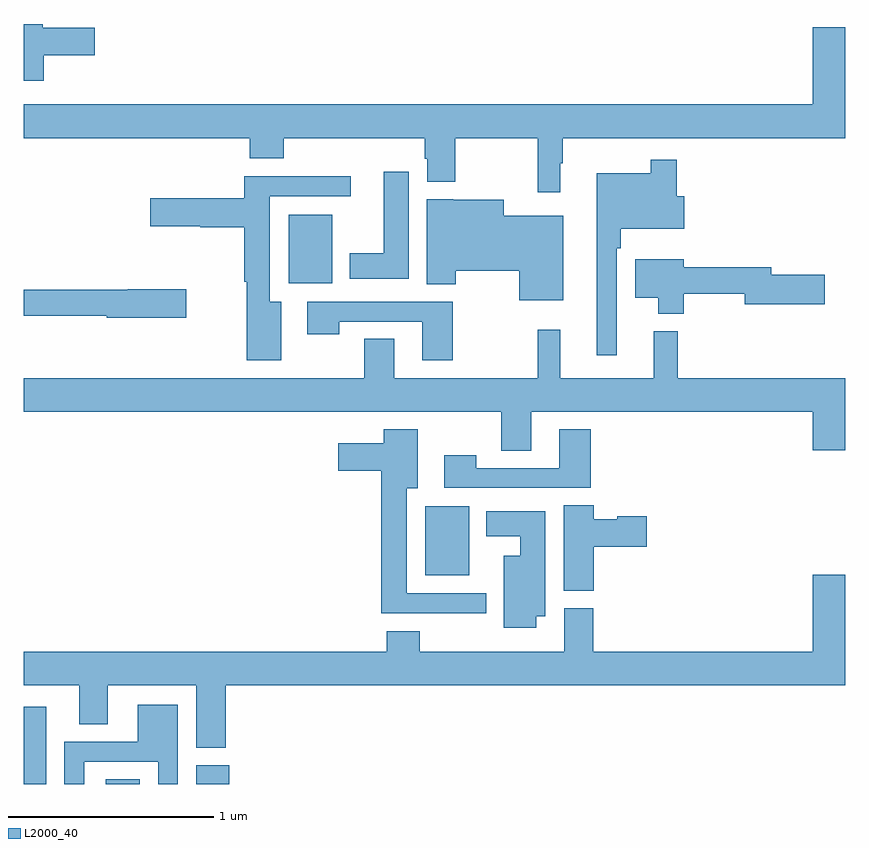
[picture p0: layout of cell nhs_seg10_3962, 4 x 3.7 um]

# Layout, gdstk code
import gdstk
lib = gdstk.Library(unit=1e-6, precision=1e-09)
def R(c, l, rs):  # rectangles x0, y0, x1, y1
    for r in rs: c.add(gdstk.rectangle(r[:2], r[2:], *l))
def P(c, l, *ps):  # polygons
    for p in ps: c.add(gdstk.Polygon(p, *l))
L2000_40 = (2000, 40)

nhs_seg10_3962 = lib.new_cell('nhs_seg10_3962')
R(nhs_seg10_3962, L2000_40, [(329,1302.5,329.11,1302.877), (329.399,1302.5,329.566,1302.524), (329.84,1302.5,330.002,1302.591), (330.956,1303.517,331.168,1303.852), (330.29,1304.936,330.502,1305.271)])
P(nhs_seg10_3962, L2000_40, [(329.098,1306.046),(329.347,1306.046),(329.347,1306.181),(329.094,1306.181),(329.094,1306.199),(329,1306.199),(329,1305.923),(329.098,1305.923)],
  [(331.612,1305.521),(331.624,1305.521),(331.624,1305.644),(333,1305.644),(333,1306.183),(332.84,1306.183),(332.84,1305.808),(329,1305.808),(329,1305.644),(330.101,1305.644),(330.101,1305.545),(330.266,1305.545),(330.266,1305.644),(330.953,1305.644),(330.953,1305.543),(330.965,1305.543),(330.965,1305.431),(331.101,1305.431),(331.101,1305.644),(331.503,1305.644),(331.503,1305.381),(331.612,1305.381)],
  [(331.887,1305.107),(331.907,1305.107),(331.907,1305.203),(332.215,1305.203),(332.215,1305.361),(332.18,1305.361),(332.18,1305.538),(332.052,1305.538),(332.052,1305.472),(331.79,1305.472),(331.79,1304.586),(331.887,1304.586)],
  [(330.874,1305.481),(330.752,1305.481),(330.752,1305.082),(330.587,1305.082),(330.587,1304.96),(330.874,1304.96)],
  [(330.253,1304.848),(330.199,1304.848),(330.199,1305.36),(330.592,1305.36),(330.592,1305.458),(330.074,1305.458),(330.074,1305.351),(329.616,1305.351),(329.616,1305.214),(329.859,1305.214),(329.859,1305.209),(330.074,1305.209),(330.074,1304.944),(330.086,1304.944),(330.086,1304.562),(330.253,1304.562)],
  [(331.627,1305.265),(331.336,1305.265),(331.336,1305.343),(331.092,1305.343),(331.092,1305.346),(330.962,1305.346),(330.962,1304.932),(331.104,1304.932),(331.104,1304.999),(331.412,1304.999),(331.412,1304.855),(331.627,1304.855)],
  [(332.212,1304.886),(332.51,1304.886),(332.51,1304.836),(332.899,1304.836),(332.899,1304.978),(332.638,1304.978),(332.638,1305.014),(332.212,1305.014),(332.212,1305.055),(331.976,1305.055),(331.976,1304.867),(332.09,1304.867),(332.09,1304.789),(332.212,1304.789)],
  [(329.791,1304.907),(329.506,1304.907),(329.506,1304.906),(329,1304.906),(329,1304.778),(329.406,1304.778),(329.406,1304.77),(329.791,1304.77)],
  [(331.089,1304.847),(330.381,1304.847),(330.381,1304.688),(330.537,1304.688),(330.537,1304.751),(330.941,1304.751),(330.941,1304.562),(331.089,1304.562)],
  [(331.471,1304.312),(332.84,1304.312),(332.84,1304.124),(333,1304.124),(333,1304.476),(332.183,1304.476),(332.183,1304.704),(332.066,1304.704),(332.066,1304.476),(331.613,1304.476),(331.613,1304.71),(331.503,1304.71),(331.503,1304.476),(330.805,1304.476),(330.805,1304.666),(330.658,1304.666),(330.658,1304.476),(329,1304.476),(329,1304.312),(331.324,1304.312),(331.324,1304.122),(331.471,1304.122)],
  [(331.252,1303.428),(330.865,1303.428),(330.865,1303.94),(330.919,1303.94),(330.919,1304.227),(330.752,1304.227),(330.752,1304.158),(330.531,1304.158),(330.531,1304.024),(330.74,1304.024),(330.74,1303.331),(331.252,1303.331)],
  [(331.76,1304.227),(331.607,1304.227),(331.607,1304.037),(331.203,1304.037),(331.203,1304.101),(331.047,1304.101),(331.047,1303.941),(331.76,1303.941)],
  [(331.775,1303.655),(332.032,1303.655),(332.032,1303.802),(331.889,1303.802),(331.889,1303.789),(331.775,1303.789),(331.775,1303.856),(331.628,1303.856),(331.628,1303.441),(331.775,1303.441)],
  [(331.495,1303.316),(331.54,1303.316),(331.54,1303.828),(331.253,1303.828),(331.253,1303.706),(331.418,1303.706),(331.418,1303.612),(331.337,1303.612),(331.337,1303.26),(331.495,1303.26)],
  [(329.984,1302.98),(333,1302.98),(333,1303.519),(332.84,1303.519),(332.84,1303.144),(331.772,1303.144),(331.772,1303.356),(331.631,1303.356),(331.631,1303.144),(330.927,1303.144),(330.927,1303.243),(330.767,1303.243),(330.767,1303.144),(329,1303.144),(329,1302.98),(329.27,1302.98),(329.27,1302.79),(329.41,1302.79),(329.41,1302.98),(329.84,1302.98),(329.84,1302.676),(329.984,1302.676)],
  [(329.295,1302.609),(329.655,1302.609),(329.655,1302.5),(329.751,1302.5),(329.751,1302.886),(329.555,1302.886),(329.555,1302.705),(329.199,1302.705),(329.199,1302.5),(329.295,1302.5)])

lib.write_gds('nhs_seg10_3962.gds')
